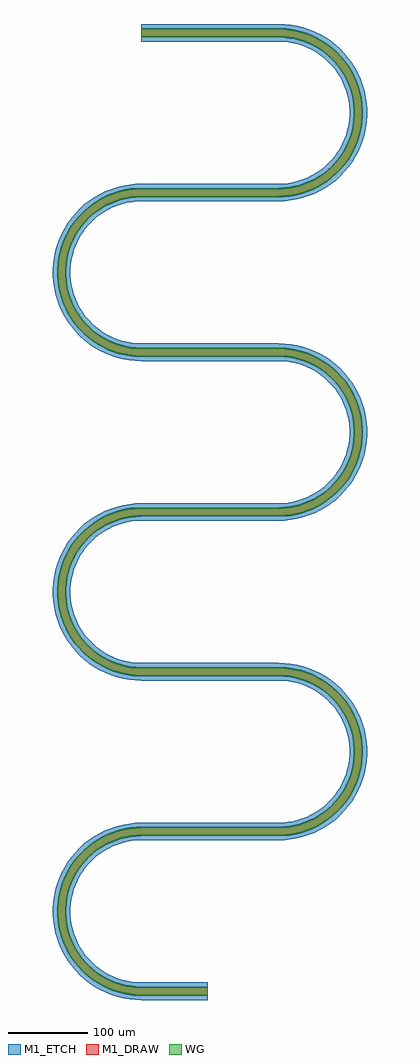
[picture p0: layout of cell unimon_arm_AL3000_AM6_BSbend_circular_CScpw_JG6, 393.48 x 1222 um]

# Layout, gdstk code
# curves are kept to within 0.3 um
from math import pi, radians
import gdstk
lib = gdstk.Library(unit=1e-6, precision=1e-09)
def R(c, l, rs):  # rectangles x0, y0, x1, y1
    for r in rs: c.add(gdstk.rectangle(r[:2], r[2:], *l))
def P(c, l, *ps):  # polygons
    for p in ps: c.add(gdstk.Polygon(p, *l))
M1_DRAW = (1, 0)
M1_ETCH = (1, 1)
WG = (102, 0)

straight_l171p6046153846 = lib.new_cell('straight_L171p60461538461536_CScoplanar_waveguide_WNone_N2')
R(straight_l171p6046153846, M1_DRAW, [(0,-5,171.605,5)])
R(straight_l171p6046153846, M1_ETCH, [(0,-11,171.605,-5), (0,5,171.605,11)])
R(straight_l171p6046153846, WG, [(0,-5,171.605,5)])

bend_circular_a180_r100_ = lib.new_cell('bend_circular_A180_R100_NNone_CScoplanar_waveguide_WNon_f5b64f4d')
P(bend_circular_a180_r100_, M1_DRAW, [(0,-5),(0,5),(13.221,5.928),(19.751,7.079),(26.185,8.683),(38.639,13.216),(50.341,19.438),(55.838,23.146),(61.063,27.228),(70.596,36.435),(78.756,46.878),(85.383,58.356),(88.08,64.414),(92.175,77.018),(93.554,83.504),(94.939,96.685),(94.477,109.93),(93.554,116.496),(92.175,122.982),(88.08,135.586),(85.383,141.644),(78.756,153.122),(70.596,163.565),(61.063,172.772),(55.838,176.854),(50.341,180.562),(38.639,186.784),(26.185,191.317),(19.751,192.921),(13.221,194.072),(0,195),(0,205),(14.614,203.981),(28.943,200.935),(35.913,198.671),(42.709,195.925),(55.643,189.048),(67.495,180.437),(72.941,175.533),(82.744,164.646),(87.051,158.717),(90.935,152.502),(97.357,139.335),(99.864,132.448),(103.408,118.234),(104.939,103.665),(104.428,89.024),(103.408,81.766),(99.864,67.552),(97.357,60.665),(90.935,47.498),(87.051,41.283),(82.744,35.354),(72.941,24.467),(67.495,19.563),(55.643,10.952),(42.709,4.075),(35.913,1.329),(28.943,-0.935),(14.614,-3.981)])
P(bend_circular_a180_r100_, M1_ETCH, [(0,-11),(0,-5),(14.614,-3.981),(28.943,-0.935),(35.913,1.329),(42.709,4.075),(55.643,10.952),(67.495,19.563),(72.941,24.467),(82.744,35.354),(87.051,41.283),(90.935,47.498),(97.357,60.665),(99.864,67.552),(103.408,81.766),(104.939,96.335),(104.428,110.976),(103.408,118.234),(99.864,132.448),(97.357,139.335),(90.935,152.502),(82.744,164.646),(78.032,170.261),(67.495,180.437),(55.643,189.048),(49.296,192.712),(35.913,198.671),(21.831,202.708),(7.325,204.747),(0,205),(0,211),(15.449,209.926),(23.08,208.581),(37.967,204.312),(45.15,201.41),(58.825,194.139),(71.354,185.036),(77.112,179.852),(87.474,168.343),(92.029,162.074),(96.135,155.503),(102.924,141.584),(105.574,134.303),(109.32,119.276),(110.939,103.874),(110.399,88.397),(109.32,80.724),(105.574,65.697),(102.924,58.416),(96.135,44.497),(92.029,37.926),(87.474,31.657),(77.112,20.148),(71.354,14.964),(58.825,5.861),(45.15,-1.41),(37.967,-4.312),(23.08,-8.581),(15.449,-9.926)],
  [(0,5),(0,11),(12.385,11.873),(18.503,12.951),(24.53,14.454),(36.197,18.701),(47.159,24.529),(57.204,31.827),(61.82,35.984),(70.128,45.21),(73.779,50.236),(79.987,60.988),(84.638,72.5),(86.35,78.471),(88.506,90.698),(88.939,96.894),(88.506,109.302),(86.35,121.529),(84.638,127.5),(79.987,139.012),(77.07,144.497),(70.128,154.79),(66.135,159.548),(57.204,168.173),(52.309,171.997),(47.159,175.471),(36.197,181.299),(24.53,185.546),(18.503,187.049),(12.385,188.127),(0,189),(0,195),(13.221,194.072),(19.751,192.921),(26.185,191.317),(38.639,186.784),(50.341,180.562),(61.063,172.772),(65.99,168.335),(74.859,158.486),(78.756,153.122),(85.383,141.644),(88.08,135.586),(92.175,122.982),(94.477,109.93),(94.939,103.315),(94.477,90.07),(93.554,83.504),(92.175,77.018),(88.08,64.414),(85.383,58.356),(78.756,46.878),(74.859,41.514),(65.99,31.665),(61.063,27.228),(50.341,19.438),(38.639,13.216),(26.185,8.683),(19.751,7.079),(13.221,5.928)])
P(bend_circular_a180_r100_, WG, [(0,-5),(0,5),(13.221,5.928),(19.751,7.079),(26.185,8.683),(38.639,13.216),(50.341,19.438),(55.838,23.146),(61.063,27.228),(70.596,36.435),(78.756,46.878),(85.383,58.356),(88.08,64.414),(92.175,77.018),(93.554,83.504),(94.939,96.685),(94.477,109.93),(93.554,116.496),(92.175,122.982),(88.08,135.586),(85.383,141.644),(78.756,153.122),(70.596,163.565),(61.063,172.772),(55.838,176.854),(50.341,180.562),(38.639,186.784),(26.185,191.317),(19.751,192.921),(13.221,194.072),(0,195),(0,205),(14.614,203.981),(28.943,200.935),(35.913,198.671),(42.709,195.925),(55.643,189.048),(67.495,180.437),(72.941,175.533),(82.744,164.646),(87.051,158.717),(90.935,152.502),(97.357,139.335),(99.864,132.448),(103.408,118.234),(104.939,103.665),(104.428,89.024),(103.408,81.766),(99.864,67.552),(97.357,60.665),(90.935,47.498),(87.051,41.283),(82.744,35.354),(72.941,24.467),(67.495,19.563),(55.643,10.952),(42.709,4.075),(35.913,1.329),(28.943,-0.935),(14.614,-3.981)])

resonator_l2914p19769230 = lib.new_cell('resonator_L2914p1976923076923_M6_BSbend_circular_CScpw__2c3a2c8e')
resonator_l2914p19769230.add(gdstk.Reference(straight_l171p6046153846, (0,0)))
resonator_l2914p19769230.add(gdstk.Reference(bend_circular_a180_r100_, (171.605,0), x_reflection=True))
resonator_l2914p19769230.add(gdstk.Reference(straight_l171p6046153846, (171.605,-200), rotation=pi))
resonator_l2914p19769230.add(gdstk.Reference(bend_circular_a180_r100_, (0,-200), rotation=pi))
resonator_l2914p19769230.add(gdstk.Reference(straight_l171p6046153846, (0,-400)))
resonator_l2914p19769230.add(gdstk.Reference(bend_circular_a180_r100_, (171.605,-400), x_reflection=True))
resonator_l2914p19769230.add(gdstk.Reference(straight_l171p6046153846, (171.605,-600), rotation=pi))
resonator_l2914p19769230.add(gdstk.Reference(bend_circular_a180_r100_, (0,-600), rotation=pi))
resonator_l2914p19769230.add(gdstk.Reference(straight_l171p6046153846, (0,-800)))
resonator_l2914p19769230.add(gdstk.Reference(bend_circular_a180_r100_, (171.605,-800), x_reflection=True))
resonator_l2914p19769230.add(gdstk.Reference(straight_l171p6046153846, (171.605,-1000), rotation=pi))
resonator_l2914p19769230.add(gdstk.Reference(bend_circular_a180_r100_, (0,-1000), rotation=pi))

straight_l82p80230769230 = lib.new_cell('straight_L82p80230769230768_CScpw_WNone_N2')
R(straight_l82p80230769230, M1_DRAW, [(0,-5,82.802,5)])
R(straight_l82p80230769230, M1_ETCH, [(0,-11,82.802,-5), (0,5,82.802,11)])
R(straight_l82p80230769230, WG, [(0,-5,82.802,5)])

unimon_arm_al3000_am6_bs = lib.new_cell('unimon_arm_AL3000_AM6_BSbend_circular_CScpw_JG6')
unimon_arm_al3000_am6_bs.add(gdstk.Reference(resonator_l2914p19769230, (0,0)))
unimon_arm_al3000_am6_bs.add(gdstk.Reference(straight_l82p80230769230, (0,-1200)))

lib.write_gds('unimon_arm_AL3000_AM6_BSbend_circular_CScpw_JG6.gds')
